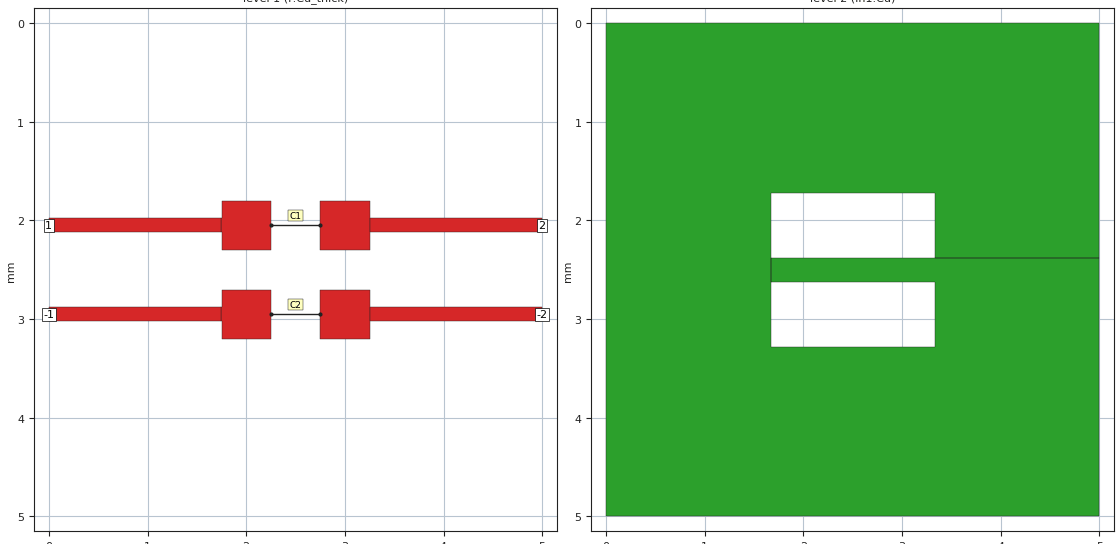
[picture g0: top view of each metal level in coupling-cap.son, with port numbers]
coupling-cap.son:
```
FTYP SONPROJ 19 ! Sonnet Project File
VER 18.52
HEADER
LIC antikernel2.1.51176
DAT 12/11/2021 13:29:01
BUILT_BY_CREATED xgeom 18.52 11/18/2021 20:28:07
BUILT_BY_SAVED sonnet 18.52
MDATE 11/29/2021 07:29:44
HDATE 11/29/2021 07:29:44
END HEADER
DIM
ANG DEG
CAP PF
CON /OH
FREQ GHZ
IND NH
LNG MM
RES OH
END DIM
CONTROL
VARSWP
OPTIONS  -dj
SPEED 0
CACHE_ABS 2
Q_ACC N
END CONTROL
GEO
DRP1 LEFT LINK
POLY 554 1
0
DRP1 RIGHT LINK
POLY 549 1
0
TMET "Free Space" 0 FREESPACE 376.7303136 0 0 0
BMET "Free Space" 0 FREESPACE 376.7303136 0 0 0
MET "Copper_1oz_thin" 1 NOR 58000000 0.5 0.035 
MET "Copper_1oz_thick" 2 TMM 58000000 0.5 0.035 2
MET "Copper_1oz_thick_down" 3 TMM 58000000 0.5 0.035 2 CDVY TDWN
MET "Copper_0.5oz_thin" 4 NOR 58000000 0.5 0.017 
MET "Copper_0.5oz_thick" 12 TMM 58000000 0.5 0.017 2
MET "Copper_0.5oz_thick_down" 5 TMM 58000000 0.5 0.017 2 CDVY TDWN
BOX 12 5 5 1000 1000 20 0
      5 1 1 0 0 0 0 "Air"
      0.04 3.5 1 0.025 0 0 0 "Soldermask"
      0.075 3.39 1 0.004 0 0 0 "Panasonic_R-5775(G)"
      0.068 3.56 1 0.004 0 0 0 "Panasonic_R-5670(G)"
      0.13 3.39 1 0.004 0 0 0 "Panasonic_R-5775(G)"
      0.092 3.56 1 0.004 0 0 0 "Panasonic_R-5670(G)"
      0.609 3.39 1 0.004 0 0 0 "Panasonic_R-5775(G)"
      0.092 3.56 1 0.004 0 0 0 "Panasonic_R-5670(G)"
      0.13 3.39 1 0.004 0 0 0 "Panasonic_R-5775(G)"
      0.068 3.56 1 0.004 0 0 0 "Panasonic_R-5670(G)"
      0.075 3.39 1 0.004 0 0 0 "Panasonic_R-5775(G)"
      0.04 3.5 1 0.025 0 0 0 "Soldermask"
      5 1 1 0 0 0 0 "Air"
TECHLAY METAL F.Cu_thin <UNSPECIFIED> -1 -65534 CAD F.Cu_thin drawing 
1 0 0 N 664 1 1 100 100 0 0 0 Y
END
END
TECHLAY METAL F.Cu_thick <UNSPECIFIED> -2 -65534 CAD F.Cu_thick drawing 
1 0 1 N 666 1 1 100 100 0 0 0 Y
END
END
TECHLAY VIA Via1 <UNSPECIFIED> -13 -65534 CAD Via1 drawing 
VIA POLYGON
1 0 -1 N 672 1 1 100 100 0 0 0 Y
TOLEVEL 10 RING NOCOVERS
END
END
TECHLAY METAL In1.Cu <UNSPECIFIED> -3 -65534 CAD In1.Cu drawing 
2 0 0 N 679 1 1 100 100 0 0 0 Y
END
END
TECHLAY METAL In2.Cu_thin <UNSPECIFIED> -4 -65534 CAD In2.Cu drawing 
3 0 3 N 682 1 1 100 100 0 0 0 Y
END
END
TECHLAY METAL In2.Cu_thick <UNSPECIFIED> -5 -65534 CAD In2.Cu_thick drawing 
3 0 4 N 684 1 1 100 100 0 0 0 Y
END
END
TECHLAY METAL In3.Cu <UNSPECIFIED> -6 -65534 CAD In3.Cu drawing 
4 0 0 N 687 1 1 100 100 0 0 0 Y
END
END
TECHLAY METAL In4.Cu <UNSPECIFIED> -7 -65534 CAD In4.Cu drawing 
7 0 0 N 692 1 1 100 100 0 0 0 Y
END
END
TECHLAY METAL In5.Cu_thin <UNSPECIFIED> -8 -65534 CAD In5.Cu drawing 
8 0 3 N 695 1 1 100 100 0 0 0 Y
END
END
TECHLAY METAL In5.Cu_thick <UNSPECIFIED> -9 -65534 CAD In5.Cu_thick drawing 
8 0 5 N 697 1 1 100 100 0 0 0 Y
END
END
TECHLAY METAL In6.Cu <UNSPECIFIED> -10 -65534 CAD In6.Cu drawing 
9 0 0 N 700 1 1 100 100 0 0 0 Y
END
END
TECHLAY METAL B.Cu_thin <UNSPECIFIED> -11 -65534 CAD B.Cu_thin drawing 
10 0 0 N 703 1 1 100 100 0 0 0 Y
END
END
TECHLAY METAL B.Cu_thick <UNSPECIFIED> -12 -65534 CAD B.Cu_thick drawing 
10 0 2 N 705 1 1 100 100 0 0 0 Y
END
END
DIM STD XDIR 1
POS 1.444202244 -0.1507102196
NOM 1.66
REF1 POLY 646 1
12
REF2 POLY 646 1
13
END
DIM STD YDIR 1
POS 0.1925223033 0.4221567294
NOM 0.66
REF1 POLY 646 1
13
REF2 POLY 646 1
3
END
VALVAR CORE_ER NONE "table1(\"core_er.csv\",FREQ)" "Variable set in material file"
VALVAR CORE_DF NONE "table1(\"core_df.csv\",FREQ)" "Variable set in material file"
VALVAR PREPREG_DF NONE "table1(\"prepreg_df.csv\",FREQ)" "Variable set in material file"
VALVAR PREPREG_ER NONE "table1(\"prepreg_er.csv\",FREQ)" "Variable set in material file"
LORGN 0 5 U 
POR1 BOX
POLY 549 1
2
2 100 0 0 0 5 2.05 
POR1 BOX
POLY 552 1
2
-2 100 0 0 0 5 2.95 
POR1 BOX
POLY 554 1
2
1 100 0 0 0 0 2.05 
POR1 BOX
POLY 557 1
2
-1 100 0 0 0 0 2.95 
SMD 1 "C1"
ID 559
GNDREF FLOAT
DRP1 LEFT NONE 1
DRP1 RIGHT NONE 1
SBOX 2.375 2.625 1.925 2.175
PBSHW Y
PBOX 2.25 2.75 1.925 2.175
PKG 0.5 0.5 0.5
LPOS 2.5 1.925
TYPE SPARAM 1
SMDP 1 2.25 2.05 L 3 1 
EXSMDP
GNDREF FLOAT
TERMW FEED
END EXSMDP
SMDP 1 2.75 2.05 R 4 2 
EXSMDP
GNDREF FLOAT
TERMW FEED
END EXSMDP
END
SMD 1 "C2"
ID 564
GNDREF FLOAT
DRP1 RIGHT NONE 1
DRP1 LEFT NONE 1
SBOX 2.375 2.625 2.825 3.075
PBSHW Y
PBOX 2.25 2.75 2.825 3.075
PKG 0.5 0.5 0.5
LPOS 2.5 2.825
TYPE SPARAM 1
SMDP 1 2.25 2.95 L 5 1 
EXSMDP
GNDREF FLOAT
TERMW FEED
END EXSMDP
SMDP 1 2.75 2.95 R 6 2 
EXSMDP
GNDREF FLOAT
TERMW FEED
END EXSMDP
END
NUM 9
1 9 1 N 482 1 1 100 100 0 0 0 Y
TLAYNAM F.Cu_thick INH
3.25 2.12
3.26 2.12
3.26 1.98
3.25 1.98
3.25 1.8
2.75 1.8
2.75 2.3
3.25 2.3
3.25 2.12
END
1 9 1 N 483 1 1 100 100 0 0 0 Y
TLAYNAM F.Cu_thick INH
2.25 1.8
1.75 1.8
1.75 1.98
1.74 1.98
1.74 2.12
1.75 2.12
1.75 2.3
2.25 2.3
2.25 1.8
END
1 9 1 N 545 1 1 100 100 0 0 0 Y
TLAYNAM F.Cu_thick INH
2.25 3.2
1.75 3.2
1.75 3.02
1.74 3.02
1.74 2.88
1.75 2.88
1.75 2.7
2.25 2.7
2.25 3.2
END
1 9 1 N 546 1 1 100 100 0 0 0 Y
TLAYNAM F.Cu_thick INH
3.25 2.88
3.26 2.88
3.26 3.02
3.25 3.02
3.25 3.2
2.75 3.2
2.75 2.7
3.25 2.7
3.25 2.88
END
1 5 1 N 549 1 1 100 100 0 0 0 Y
TLAYNAM F.Cu_thick INH
3.26 2.12
3.26 1.98
5 1.98
5 2.12
3.26 2.12
END
1 5 1 N 552 1 1 100 100 0 0 0 Y
TLAYNAM F.Cu_thick INH
3.26 2.88
3.26 3.02
5 3.02
5 2.88
3.26 2.88
END
1 5 1 N 554 1 1 100 100 0 0 0 Y
TLAYNAM F.Cu_thick INH
1.74 1.98
1.74 2.12
0 2.12
0 1.98
1.74 1.98
END
1 5 1 N 557 1 1 100 100 0 0 0 Y
TLAYNAM F.Cu_thick INH
1.74 3.02
1.74 2.88
0 2.88
0 3.02
1.74 3.02
END
2 24 0 N 646 1 1 100 100 0 0 0 Y
TLAYNAM In1.Cu INH
5 3.25
5 3.2
5 2.38
3.33 2.38
1.67 2.38
1.67 2.62
3.33 2.62
3.33 3.28
1.67 3.28
1.67 2.62
1.67 2.38
1.67 2.38
1.67 1.72
3.33 1.72
3.33 2.38
5 2.38
5 2.38
5 2.35
5 2.3
5 0
0 0
0 5
5 5
5 3.25
END
END GEO
OPT
MAX 100
END OPT
VARSWP
ENABLED Y
FREQ Y AY ABS_ENTRY 0.4 24.0 -1 300 
END
END VARSWP
3DOPTIONS
GLOBAL 1
ALL 13 1
END 3DOPTIONS
SMDFILES
1 "../../../../../ceph/bulk/datasheets/ATC/560l.s2p"
END SMDFILES
```
